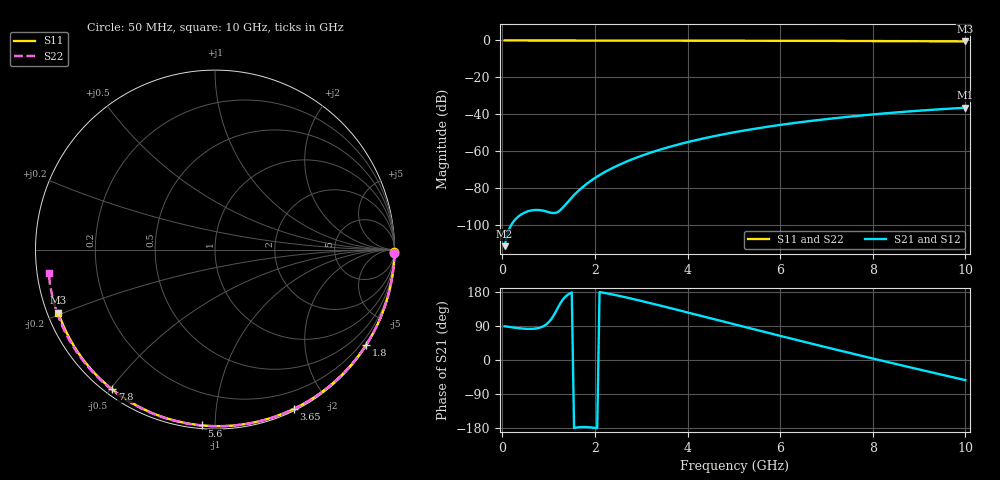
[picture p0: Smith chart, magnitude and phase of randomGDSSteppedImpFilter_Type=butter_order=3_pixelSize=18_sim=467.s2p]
! freq	dB(S11)	phase(S11)	dB(S12)	phase(S12)
!  dB(S21)	phase(S21)	dB(S22)	phase(S22)
!S-par simulation data
#  GHz  S  DB  R 50
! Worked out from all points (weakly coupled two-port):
!   200 points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, 50 MHz to 10 GHz, reference 50 ohm
!   highest |S21| = -36.52 dB at 10 GHz (marker M1); lowest = -111.7 dB at 50 MHz (marker M2)
!   lowest |S11| = -0.5 dB at 10 GHz (marker M3), VSWR 32.72, Z = 1.59 - j9.68 ohm
!   |S11| at or under -10 dB: nowhere
!   |S22| runs from -0.6 to 0.0 dB; largest |S21 - S12| = 0
!   S11 on the Smith chart (normalised r, x): 50 MHz: open; 1.8 GHz: 0.03, -3.45; 3.65 GHz: 0.02, -1.61; 5.6 GHz: 0.02, -0.93; 7.8 GHz: 0.02, -0.51; 10 GHz: 0.03, -0.19
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0.05  -0.00 -0.9  -111.70 89.1  -111.70 89.1  -0.00 -1.0
0.45  -0.01 -8.2  -93.86 82.8  -93.86 82.8  -0.01 -8.8
0.85  -0.02 -15.4  -92.28 87.1  -92.28 87.1  -0.02 -16.5
1.7  -0.04 -30.5  -80.37 -177.0  -80.37 -177.0  -0.04 -32.6
1.75  -0.04 -31.4  -79.30 -176.8  -79.30 -176.8  -0.04 -33.6
1.8  -0.04 -32.3  -78.29 -176.9  -78.29 -176.9  -0.04 -34.5
2.1  -0.05 -37.5  -73.11 179.2  -73.11 179.2  -0.05 -40.1
2.3  -0.05 -41.0  -70.28 174.9  -70.28 174.9  -0.06 -43.8
2.5  -0.06 -44.4  -67.80 169.9  -67.80 169.9  -0.06 -47.5
2.9  -0.07 -51.2  -63.59 158.8  -63.59 158.8  -0.07 -54.7
3.4  -0.08 -59.6  -59.33 143.9  -59.33 143.9  -0.08 -63.6
3.65  -0.09 -63.7  -57.50 136.3  -57.50 136.3  -0.09 -68.0
4.35  -0.11 -75.0  -53.16 114.7  -53.16 114.7  -0.11 -80.1
5.05  -0.13 -85.9  -49.66 92.9  -49.66 92.9  -0.14 -91.8
5.6  -0.16 -94.3  -47.35 76.0  -47.35 76.0  -0.17 -100.8
6.15  -0.18 -102.5  -45.34 59.1  -45.34 59.1  -0.20 -109.6
6.7  -0.22 -110.6  -43.57 42.5  -43.57 42.5  -0.23 -118.4
7.25  -0.25 -118.5  -42.01 26.0  -42.01 26.0  -0.27 -127.1
7.8  -0.30 -126.4  -40.62 9.8  -40.62 9.8  -0.32 -135.8
8.35  -0.34 -134.2  -39.40 -6.3  -39.40 -6.3  -0.37 -144.6
9.2  -0.43 -146.4  -37.77 -30.6  -37.77 -30.6  -0.47 -158.4
10  -0.53 -158.1  -36.52 -53.1  -36.52 -53.1  -0.58 -172.1
